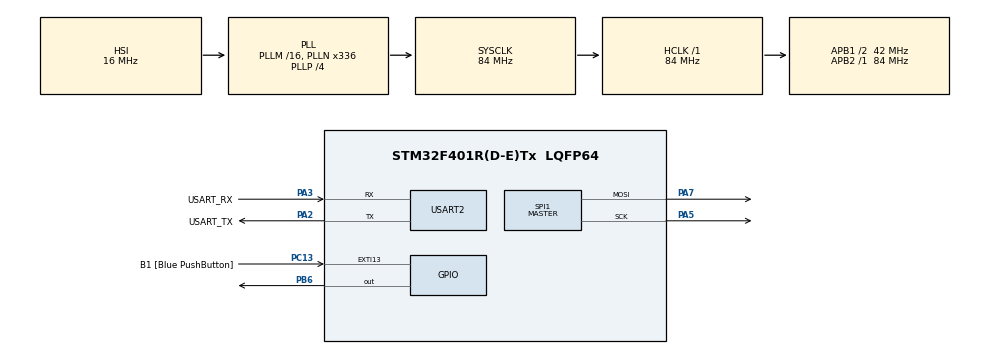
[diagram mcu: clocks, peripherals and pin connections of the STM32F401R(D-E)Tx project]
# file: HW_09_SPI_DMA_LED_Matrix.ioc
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Dma.Request0=SPI1_TX
Dma.SPI1_TX.0.Direction=DMA_MEMORY_TO_PERIPH
Dma.SPI1_TX.0.FIFOMode=DMA_FIFOMODE_DISABLE
Dma.SPI1_TX.0.Instance=DMA2_Stream3
Dma.SPI1_TX.0.MemDataAlignment=DMA_MDATAALIGN_BYTE
Dma.SPI1_TX.0.MemInc=DMA_MINC_ENABLE
Dma.SPI1_TX.0.Mode=DMA_NORMAL
Dma.SPI1_TX.0.PeriphDataAlignment=DMA_PDATAALIGN_BYTE
Dma.SPI1_TX.0.PeriphInc=DMA_PINC_DISABLE
Dma.SPI1_TX.0.Priority=DMA_PRIORITY_HIGH
Mcu.Family=STM32F4
Mcu.Name=STM32F401R(D-E)Tx
Mcu.Package=LQFP64
NVIC.DMA2_Stream3_IRQn=true\:0\:0\:false\:false\:true\:false\:true\:true
NVIC.PriorityGroup=NVIC_PRIORITYGROUP_0
NVIC.SPI1_IRQn=true\:0\:0\:false\:false\:true\:true\:true\:true
NVIC.TIM2_IRQn=true\:0\:0\:false\:false\:true\:true\:true\:true
NVIC.TIM3_IRQn=true\:0\:0\:false\:false\:true\:true\:true\:true
PA13.GPIO_Label=TMS
PA13.Mode=Serial_Wire
PA13.Signal=SYS_JTMS-SWDIO
PA14.GPIO_Label=TCK
PA14.Mode=Serial_Wire
PA14.Signal=SYS_JTCK-SWCLK
PA2.GPIO_Label=USART_TX
PA2.GPIO_Mode=GPIO_MODE_AF_PP
PA2.GPIO_PuPd=GPIO_NOPULL
PA2.GPIO_Speed=GPIO_SPEED_FREQ_LOW
PA2.Mode=Asynchronous
PA2.Signal=USART2_TX
PA3.GPIO_Label=USART_RX
PA3.GPIO_Mode=GPIO_MODE_AF_PP
PA3.GPIO_PuPd=GPIO_NOPULL
PA3.GPIO_Speed=GPIO_SPEED_FREQ_LOW
PA3.Mode=Asynchronous
PA3.Signal=USART2_RX
PA5.Mode=TX_Only_Simplex_Unidirect_Master
PA5.Signal=SPI1_SCK
PA6.Signal=SPI1_MISO
PA7.Mode=TX_Only_Simplex_Unidirect_Master
PA7.Signal=SPI1_MOSI
PB3.GPIO_Label=SWO
PB3.Signal=SYS_JTDO-SWO
PB6.Signal=GPIO_Output
PC13-ANTI_TAMP.GPIO_Label=B1 [Blue PushButton]
PC13-ANTI_TAMP.GPIO_ModeDefaultEXTI=GPIO_MODE_IT_FALLING
PC13-ANTI_TAMP.GPIO_PuPd=GPIO_NOPULL
PC13-ANTI_TAMP.Signal=GPXTI13
PC14-OSC32_IN.Mode=LSE-External-Oscillator
PC14-OSC32_IN.Signal=RCC_OSC32_IN
PC15-OSC32_OUT.Mode=LSE-External-Oscillator
PC15-OSC32_OUT.Signal=RCC_OSC32_OUT
PH0\ -\ OSC_IN.Mode=HSE-External-Clock-Source
PH0\ -\ OSC_IN.Signal=RCC_OSC_IN
PH1\ -\ OSC_OUT.Mode=HSE-External-Clock-Source
PH1\ -\ OSC_OUT.Signal=RCC_OSC_OUT
ProjectManager.HeapSize=0x200
ProjectManager.StackSize=0x400
ProjectManager.TargetToolchain=STM32CubeIDE
RCC.48MHZClocksFreq_Value=48000000
RCC.AHBFreq_Value=84000000
RCC.APB1CLKDivider=RCC_HCLK_DIV2
RCC.APB1Freq_Value=42000000
RCC.APB1TimFreq_Value=84000000
RCC.APB2Freq_Value=84000000
RCC.APB2TimFreq_Value=84000000
RCC.CortexFreq_Value=84000000
RCC.HCLKFreq_Value=84000000
RCC.HSE_VALUE=8000000
RCC.HSI_VALUE=16000000
RCC.PLLN=336
RCC.PLLP=RCC_PLLP_DIV4
RCC.PLLQ=7
RCC.SYSCLKFreq_VALUE=84000000
RCC.SYSCLKSource=RCC_SYSCLKSOURCE_PLLCLK
RCC.VCOOutputFreq_Value=336000000
SPI1.BaudRatePrescaler=SPI_BAUDRATEPRESCALER_4
SPI1.Direction=SPI_DIRECTION_2LINES
SPI1.Mode=SPI_MODE_MASTER
SPI1.VirtualType=VM_MASTER
TIM2.Period=40-1
TIM2.Prescaler=8400-1
TIM3.Period=10000-1
TIM3.Prescaler=8400-1
USART2.VirtualMode=VM_ASYNC
VP_TIM2_VS_ClockSourceINT.Mode=Internal
VP_TIM3_VS_ClockSourceINT.Mode=Internal
board=NUCLEO-F401RE

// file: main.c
/* USER CODE BEGIN Header */
/**
  ******************************************************************************
  * @file           : main.c
  * @brief          : Main program body
  ******************************************************************************
  * @attention
  *
  * Copyright (c) 2024 STMicroelectronics.
  * All rights reserved.
  *
  * This software is licensed under terms that can be found in the LICENSE file
  * in the root directory of this software component.
  * If no LICENSE file comes with this software, it is provided AS-IS.
  *
  ******************************************************************************
  */
/* USER CODE END Header */
#include "main.h"

/* USER CODE BEGIN PD */

#define NUM_OF_CHAR 2
#define MATRIX_ROW 5
#define MATRIX_COL 2
#define RCLK GPIOB,GPIO_PIN_6	//RCLK is connected to the SPI pin SS (page 3 of hands-on lab schematics)

/* USER CODE END PD */

SPI_HandleTypeDef hspi1;
DMA_HandleTypeDef hdma_spi1_tx;

TIM_HandleTypeDef htim2;
TIM_HandleTypeDef htim3;

UART_HandleTypeDef huart2;

/* USER CODE BEGIN PV */

uint8_t char_index = 0;	//index to decide which char to send
uint8_t i = 0;			//index of the row of the char matrix (to select the column of the LED matrix)

uint8_t tx_char[NUM_OF_CHAR][MATRIX_ROW][MATRIX_COL] = {{	//3D array to store all the char (matrix) we have to send
		{49, 16},	//letter s matrix
		{73, 8},
		{73, 4},
		{73, 2},
		{70, 1}
},{
		{64, 16},	//letter t matrix
		{64, 8},
		{127, 4},
		{64, 2},
		{64, 1}
}};

/* USER CODE END PV */

void SystemClock_Config(void);
static void MX_GPIO_Init(void);
static void MX_DMA_Init(void);
static void MX_USART2_UART_Init(void);
static void MX_SPI1_Init(void);
static void MX_TIM2_Init(void);
static void MX_TIM3_Init(void);

/* USER CODE BEGIN 0 */

void HAL_TIM_PeriodElapsedCallback (TIM_HandleTypeDef *htim) {

	if (htim == &htim2) {	//timer 2 callback called every 4ms
		if (i == MATRIX_ROW)	//index rollback
			i = 0;
		//send correct char
			HAL_SPI_Transmit_DMA(&hspi1, &tx_char[char_index][i++], 2);
	}

	if (htim == &htim3) {	//timer 3 callback: 1 second elapsed -> change letter
		char_index++;
		if (char_index == NUM_OF_CHAR)	//char index rollback
			char_index = 0;
	}
}

void HAL_SPI_TxCpltCallback(SPI_HandleTypeDef * hspi) {		//SPI transmission completed
	if (hspi == &hspi1) {
		//provide a rising edge to RCLK in order to update the output shift registers
		HAL_GPIO_WritePin(RCLK, GPIO_PIN_SET);
		HAL_GPIO_WritePin(RCLK, GPIO_PIN_RESET);
	}
}

/* USER CODE END 0 */

int main(void)
{

  /* MCU Configuration--------------------------------------------------------*/

  /* Reset of all peripherals, Initializes the Flash interface and the Systick. */
  HAL_Init();

  /* Configure the system clock */
  SystemClock_Config();

  /* Initialize all configured peripherals */
  MX_GPIO_Init();
  MX_DMA_Init();
  MX_USART2_UART_Init();
  MX_SPI1_Init();
  MX_TIM2_Init();
  MX_TIM3_Init();
  /* USER CODE BEGIN 2 */

  __HAL_TIM_CLEAR_IT(&htim2, TIM_IT_UPDATE);	//clear interrupt request BEFORE enabling tim interrupt
  __HAL_TIM_CLEAR_IT(&htim3, TIM_IT_UPDATE);	//clear interrupt request BEFORE enabling tim interrupt
    HAL_TIM_Base_Start_IT(&htim2); 				//start TIM2 in interrupt mode
    HAL_TIM_Base_Start_IT(&htim3); 				//start TIM3 in interrupt mode

  /* USER CODE END 2 */

  /* Infinite loop */
  while (1)
  {

  }
}

void SystemClock_Config(void)
{
  RCC_OscInitTypeDef RCC_OscInitStruct = {0};
  RCC_ClkInitTypeDef RCC_ClkInitStruct = {0};

  /** Configure the main internal regulator output voltage
  */
  __HAL_RCC_PWR_CLK_ENABLE();
  __HAL_PWR_VOLTAGESCALING_CONFIG(PWR_REGULATOR_VOLTAGE_SCALE2);

  /** Initializes the RCC Oscillators according to the specified parameters
  * in the RCC_OscInitTypeDef structure.
  */
  RCC_OscInitStruct.OscillatorType = RCC_OSCILLATORTYPE_HSI;
  RCC_OscInitStruct.HSIState = RCC_HSI_ON;
  RCC_OscInitStruct.HSICalibrationValue = RCC_HSICALIBRATION_DEFAULT;
  RCC_OscInitStruct.PLL.PLLState = RCC_PLL_ON;
  RCC_OscInitStruct.PLL.PLLSource = RCC_PLLSOURCE_HSI;
  RCC_OscInitStruct.PLL.PLLM = 16;
  RCC_OscInitStruct.PLL.PLLN = 336;
  RCC_OscInitStruct.PLL.PLLP = RCC_PLLP_DIV4;
  RCC_OscInitStruct.PLL.PLLQ = 7;
  if (HAL_RCC_OscConfig(&RCC_OscInitStruct) != HAL_OK)
  {
    Error_Handler();
  }

  /** Initializes the CPU, AHB and APB buses clocks
  */
  RCC_ClkInitStruct.ClockType = RCC_CLOCKTYPE_HCLK|RCC_CLOCKTYPE_SYSCLK
                              |RCC_CLOCKTYPE_PCLK1|RCC_CLOCKTYPE_PCLK2;
  RCC_ClkInitStruct.SYSCLKSource = RCC_SYSCLKSOURCE_PLLCLK;
  RCC_ClkInitStruct.AHBCLKDivider = RCC_SYSCLK_DIV1;
  RCC_ClkInitStruct.APB1CLKDivider = RCC_HCLK_DIV2;
  RCC_ClkInitStruct.APB2CLKDivider = RCC_HCLK_DIV1;

  if (HAL_RCC_ClockConfig(&RCC_ClkInitStruct, FLASH_LATENCY_2) != HAL_OK)
  {
    Error_Handler();
  }
}

static void MX_SPI1_Init(void)
{

  /* SPI1 parameter configuration*/
  hspi1.Instance = SPI1;
  hspi1.Init.Mode = SPI_MODE_MASTER;
  hspi1.Init.Direction = SPI_DIRECTION_2LINES;
  hspi1.Init.DataSize = SPI_DATASIZE_8BIT;
  hspi1.Init.CLKPolarity = SPI_POLARITY_LOW;
  hspi1.Init.CLKPhase = SPI_PHASE_1EDGE;
  hspi1.Init.NSS = SPI_NSS_SOFT;
  hspi1.Init.BaudRatePrescaler = SPI_BAUDRATEPRESCALER_4;
  hspi1.Init.FirstBit = SPI_FIRSTBIT_MSB;
  hspi1.Init.TIMode = SPI_TIMODE_DISABLE;
  hspi1.Init.CRCCalculation = SPI_CRCCALCULATION_DISABLE;
  hspi1.Init.CRCPolynomial = 10;
  if (HAL_SPI_Init(&hspi1) != HAL_OK)
  {
    Error_Handler();
  }

}

static void MX_TIM2_Init(void)
{

  TIM_ClockConfigTypeDef sClockSourceConfig = {0};
  TIM_MasterConfigTypeDef sMasterConfig = {0};

  htim2.Instance = TIM2;
  htim2.Init.Prescaler = 8400-1;
  htim2.Init.CounterMode = TIM_COUNTERMODE_UP;
  htim2.Init.Period = 40-1;
  htim2.Init.ClockDivision = TIM_CLOCKDIVISION_DIV1;
  htim2.Init.AutoReloadPreload = TIM_AUTORELOAD_PRELOAD_DISABLE;
  if (HAL_TIM_Base_Init(&htim2) != HAL_OK)
  {
    Error_Handler();
  }
  sClockSourceConfig.ClockSource = TIM_CLOCKSOURCE_INTERNAL;
  if (HAL_TIM_ConfigClockSource(&htim2, &sClockSourceConfig) != HAL_OK)
  {
    Error_Handler();
  }
  sMasterConfig.MasterOutputTrigger = TIM_TRGO_RESET;
  sMasterConfig.MasterSlaveMode = TIM_MASTERSLAVEMODE_DISABLE;
  if (HAL_TIMEx_MasterConfigSynchronization(&htim2, &sMasterConfig) != HAL_OK)
  {
    Error_Handler();
  }

}

static void MX_TIM3_Init(void)
{

  TIM_ClockConfigTypeDef sClockSourceConfig = {0};
  TIM_MasterConfigTypeDef sMasterConfig = {0};

  htim3.Instance = TIM3;
  htim3.Init.Prescaler = 8400-1;
  htim3.Init.CounterMode = TIM_COUNTERMODE_UP;
  htim3.Init.Period = 10000-1;
  htim3.Init.ClockDivision = TIM_CLOCKDIVISION_DIV1;
  htim3.Init.AutoReloadPreload = TIM_AUTORELOAD_PRELOAD_DISABLE;
  if (HAL_TIM_Base_Init(&htim3) != HAL_OK)
  {
    Error_Handler();
  }
  sClockSourceConfig.ClockSource = TIM_CLOCKSOURCE_INTERNAL;
  if (HAL_TIM_ConfigClockSource(&htim3, &sClockSourceConfig) != HAL_OK)
  {
    Error_Handler();
  }
  sMasterConfig.MasterOutputTrigger = TIM_TRGO_RESET;
  sMasterConfig.MasterSlaveMode = TIM_MASTERSLAVEMODE_DISABLE;
  if (HAL_TIMEx_MasterConfigSynchronization(&htim3, &sMasterConfig) != HAL_OK)
  {
    Error_Handler();
  }

}

static void MX_USART2_UART_Init(void)
{

  huart2.Instance = USART2;
  huart2.Init.BaudRate = 115200;
  huart2.Init.WordLength = UART_WORDLENGTH_8B;
  huart2.Init.StopBits = UART_STOPBITS_1;
  huart2.Init.Parity = UART_PARITY_NONE;
  huart2.Init.Mode = UART_MODE_TX_RX;
  huart2.Init.HwFlowCtl = UART_HWCONTROL_NONE;
  huart2.Init.OverSampling = UART_OVERSAMPLING_16;
  if (HAL_UART_Init(&huart2) != HAL_OK)
  {
    Error_Handler();
  }

}

static void MX_DMA_Init(void)
{

  /* DMA controller clock enable */
  __HAL_RCC_DMA2_CLK_ENABLE();

  /* DMA interrupt init */
  /* DMA2_Stream3_IRQn interrupt configuration */
  HAL_NVIC_SetPriority(DMA2_Stream3_IRQn, 0, 0);
  HAL_NVIC_EnableIRQ(DMA2_Stream3_IRQn);

}

static void MX_GPIO_Init(void)
{
  GPIO_InitTypeDef GPIO_InitStruct = {0};

  /* GPIO Ports Clock Enable */
  __HAL_RCC_GPIOC_CLK_ENABLE();
  __HAL_RCC_GPIOH_CLK_ENABLE();
  __HAL_RCC_GPIOA_CLK_ENABLE();
  __HAL_RCC_GPIOB_CLK_ENABLE();

  /*Configure GPIO pin Output Level */
  HAL_GPIO_WritePin(GPIOB, GPIO_PIN_6, GPIO_PIN_RESET);

  /*Configure GPIO pin : B1_Pin */
  GPIO_InitStruct.Pin = B1_Pin;
  GPIO_InitStruct.Mode = GPIO_MODE_IT_FALLING;
  GPIO_InitStruct.Pull = GPIO_NOPULL;
  HAL_GPIO_Init(B1_GPIO_Port, &GPIO_InitStruct);

  /*Configure GPIO pin : PB6 */
  GPIO_InitStruct.Pin = GPIO_PIN_6;
  GPIO_InitStruct.Mode = GPIO_MODE_OUTPUT_PP;
  GPIO_InitStruct.Pull = GPIO_NOPULL;
  GPIO_InitStruct.Speed = GPIO_SPEED_FREQ_LOW;
  HAL_GPIO_Init(GPIOB, &GPIO_InitStruct);

}

void Error_Handler(void)
{
  __disable_irq();
  while (1)
  {
  }
}
